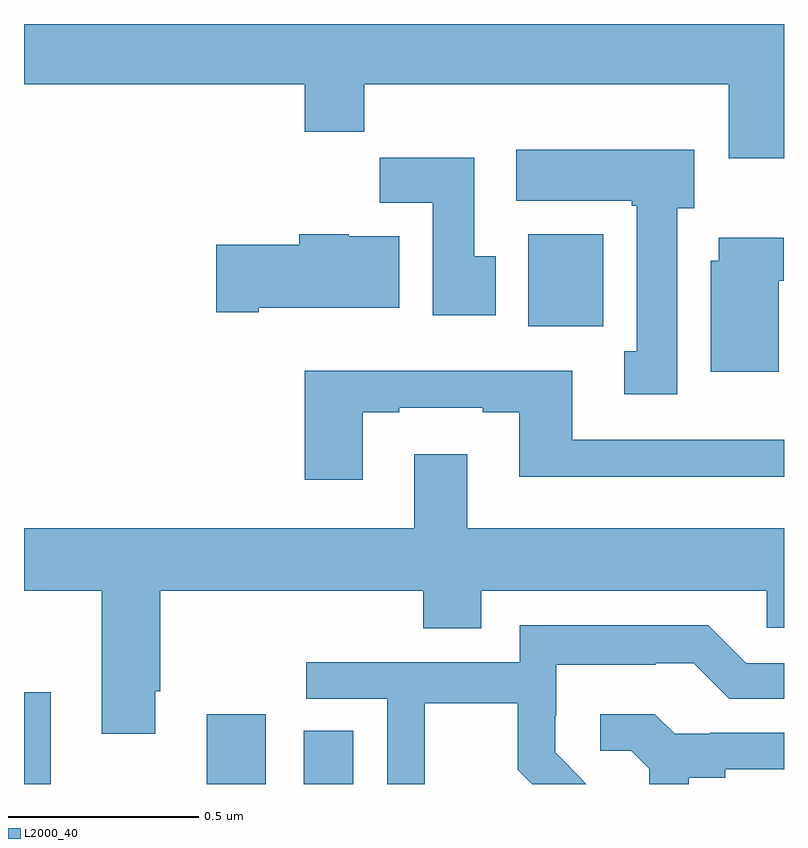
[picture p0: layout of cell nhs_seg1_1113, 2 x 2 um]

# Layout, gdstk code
import gdstk
lib = gdstk.Library(unit=1e-6, precision=1e-09)
def R(c, l, rs):  # rectangles x0, y0, x1, y1
    for r in rs: c.add(gdstk.rectangle(r[:2], r[2:], *l))
def P(c, l, *ps):  # polygons
    for p in ps: c.add(gdstk.Polygon(p, *l))
L2000_40 = (2000, 40)

nhs_seg1_1113 = lib.new_cell('nhs_seg1_1113')
R(nhs_seg1_1113, L2000_40, [(124,575.199,124.07,575.44), (124.481,575.199,124.636,575.383), (124.736,575.199,124.867,575.339), (125.327,576.404,125.524,576.646)])
P(nhs_seg1_1113, L2000_40, [(126,577.199),(124,577.199),(124,577.04),(124.739,577.04),(124.739,576.916),(124.895,576.916),(124.895,577.04),(125.855,577.04),(125.855,576.846),(126,576.846)],
  [(125.719,576.714),(125.764,576.714),(125.764,576.868),(125.295,576.868),(125.295,576.734),(125.599,576.734),(125.599,576.721),(125.612,576.721),(125.612,576.338),(125.579,576.338),(125.579,576.225),(125.719,576.225)],
  [(125.242,576.588),(125.185,576.588),(125.185,576.847),(124.936,576.847),(124.936,576.728),(125.075,576.728),(125.075,576.432),(125.242,576.432)],
  [(124.618,576.452),(124.987,576.452),(124.987,576.64),(124.854,576.64),(124.854,576.646),(124.724,576.646),(124.724,576.618),(124.506,576.618),(124.506,576.44),(124.618,576.44)],
  [(125.986,576.524),(125.999,576.524),(125.999,576.637),(125.828,576.637),(125.828,576.576),(125.807,576.576),(125.807,576.284),(125.986,576.284)],
  [(124.891,576.177),(124.987,576.177),(124.987,576.189),(125.207,576.189),(125.207,576.177),(125.303,576.177),(125.303,576.008),(126,576.008),(126,576.105),(125.443,576.105),(125.443,576.286),(124.739,576.286),(124.739,576),(124.891,576)],
  [(124.345,575.443),(124.358,575.443),(124.358,575.708),(125.051,575.708),(125.051,575.609),(125.203,575.609),(125.203,575.708),(125.955,575.708),(125.955,575.61),(126,575.61),(126,575.872),(125.167,575.872),(125.167,576.067),(125.027,576.067),(125.027,575.872),(124,575.872),(124,575.708),(124.205,575.708),(124.205,575.331),(124.345,575.331)],
  [(125.055,575.412),(125.299,575.412),(125.299,575.237),(125.337,575.199),(125.479,575.199),(125.471,575.207),(125.472,575.208),(125.398,575.282),(125.398,575.379),(125.4,575.379),(125.4,575.513),(125.663,575.513),(125.663,575.517),(125.763,575.517),(125.856,575.424),(126,575.424),(126,575.517),(125.901,575.517),(125.801,575.617),(125.304,575.617),(125.304,575.52),(124.743,575.52),(124.743,575.424),(124.956,575.424),(124.956,575.199),(125.055,575.199)],
  [(125.749,575.216),(125.845,575.216),(125.845,575.238),(126,575.238),(126,575.334),(125.806,575.334),(125.806,575.331),(125.712,575.331),(125.66,575.383),(125.517,575.383),(125.517,575.286),(125.598,575.286),(125.645,575.239),(125.645,575.199),(125.749,575.199)])

lib.write_gds('nhs_seg1_1113.gds')
